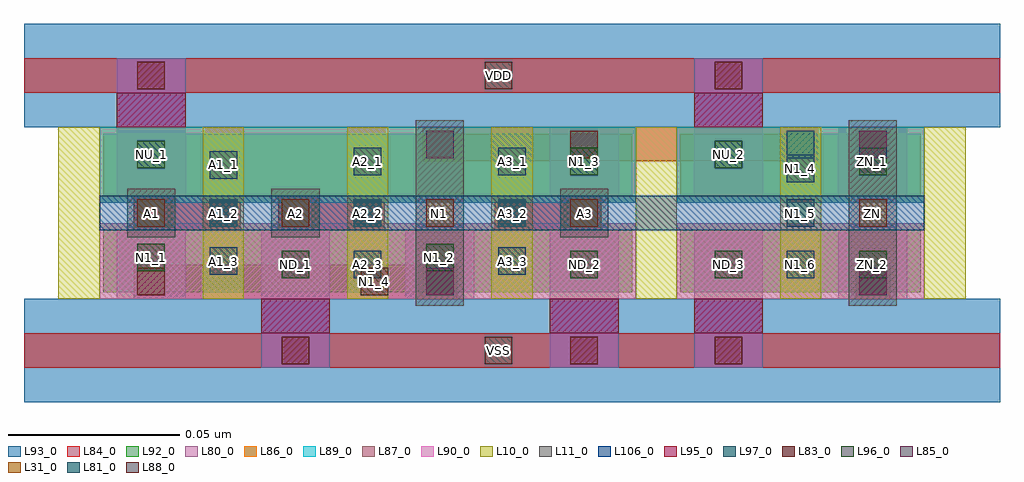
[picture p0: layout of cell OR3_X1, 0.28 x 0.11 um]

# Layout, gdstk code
import gdstk
lib = gdstk.Library(unit=1e-6, precision=1e-09)
def R(c, l, rs):  # rectangles x0, y0, x1, y1
    for r in rs: c.add(gdstk.rectangle(r[:2], r[2:], *l))
def A(c, l, x, y, w, h, nx, ny, dx, dy):  # array of equal rectangles
    R(c, l, [(x+i*dx, y+j*dy, x+i*dx+w, y+j*dy+h) for i in range(nx) for j in range(ny)])
L10_0 = (10, 0)
L11_0 = (11, 0)
L31_0 = (31, 0)
L80_0 = (80, 0)
L81_0 = (81, 0)
L83_0 = (83, 0)
L84_0 = (84, 0)
L85_0 = (85, 0)
L86_0 = (86, 0)
L87_0 = (87, 0)
L88_0 = (88, 0)
L89_0 = (89, 0)
L90_0 = (90, 0)
L92_0 = (92, 0)
L93_0 = (93, 0)
L95_0 = (95, 0)
L96_0 = (96, 0)
L97_0 = (97, 0)
L106_0 = (106, 0)

or3_x1 = lib.new_cell('OR3_X1')
A(or3_x1, L10_0, -0.027, 0.015, 0.012, 0.05, 7, 1, 0.042, 0)
R(or3_x1, L11_0, [(0.077,0.013,0.091,0.047), (0.203,0.013,0.217,0.047), (-0.007,0.033,0.007,0.047), (0.035,0.033,0.049,0.047), (0.077,0.033,0.091,0.067), (0.119,0.033,0.133,0.047), (0.203,0.033,0.217,0.067)])
A(or3_x1, L31_0, -0.004, 0.036, 0.008, 0.008, 4, 1, 0.042, 0)
R(or3_x1, L31_0, [(0.206,0.036,0.214,0.044)])
A(or3_x1, L80_0, -0.01, 0.015, 0.02, 0.02, 6, 1, 0.042, 0)
R(or3_x1, L80_0, [(0.032,-0.005,0.052,0.016), (0.116,-0.005,0.136,0.016), (0.158,-0.005,0.178,0.016), (-0.01,0.045,0.01,0.065), (-0.01,0.045,0.01,0.065), (0.116,0.045,0.136,0.065), (0.116,0.045,0.136,0.065), (0.158,0.045,0.178,0.065), (0.158,0.045,0.178,0.065), (0.2,0.045,0.22,0.065), (0.2,0.045,0.22,0.065), (-0.01,0.056,0.01,0.085), (0.158,0.056,0.178,0.085)])
A(or3_x1, L81_0, 0.017, 0.036, 0.008, 0.008, 3, 1, 0.042, 0)
R(or3_x1, L81_0, [(0.185,0.056,0.193,0.064)])
R(or3_x1, L83_0, [(0.038,-0.004,0.046,0.004), (0.122,-0.004,0.13,0.004), (0.164,-0.004,0.172,0.004), (-0.004,0.016,0.004,0.024), (0.08,0.016,0.088,0.024), (0.206,0.016,0.214,0.024), (0.122,0.056,0.13,0.064), (0.206,0.056,0.214,0.064), (-0.004,0.076,0.004,0.084), (0.164,0.076,0.172,0.084)])
A(or3_x1, L84_0, -0.005, 0.015, 0.031, 0.01, 4, 1, 0.021, 0)
A(or3_x1, L84_0, 0.079, 0.055, 0.031, 0.01, 5, 1, 0.021, 0)
R(or3_x1, L84_0, [(-0.037,-0.005,0.247,0.005), (0.205,0.015,0.215,0.025), (-0.005,0.035,0.026,0.045), (0.037,0.035,0.068,0.045), (0.1,0.035,0.131,0.045), (0.205,0.055,0.215,0.065), (-0.037,0.075,0.247,0.085)])
R(or3_x1, L85_0, [(0.08,0.016,0.088,0.024), (0.206,0.016,0.214,0.024), (-0.004,0.036,0.004,0.044), (0.038,0.036,0.046,0.044), (0.122,0.036,0.13,0.044), (0.08,0.056,0.088,0.064), (0.206,0.056,0.214,0.064)])
R(or3_x1, L86_0, [(-0.015,0.043,0.141,0.065), (0.153,0.043,0.225,0.065)])
R(or3_x1, L87_0, [(-0.015,0.015,0.141,0.037), (0.153,0.015,0.225,0.037)])
R(or3_x1, L88_0, [(0.097,-0.004,0.105,0.004), (0.061,0.016,0.069,0.024), (0.097,0.076,0.105,0.084)])
R(or3_x1, L89_0, [(-0.015,0.043,0.141,0.065), (0.153,0.043,0.225,0.065)])
R(or3_x1, L90_0, [(-0.015,0.015,0.141,0.037), (0.153,0.015,0.225,0.037)])
R(or3_x1, L92_0, [(-0.014,0.017,0.14,0.035), (0.154,0.017,0.224,0.035), (-0.014,0.045,0.14,0.063), (0.154,0.045,0.224,0.063)])
R(or3_x1, L93_0, [(-0.037,-0.015,0.247,0.015), (-0.037,0.065,0.247,0.095)])
R(or3_x1, L95_0, [(0.032,0.005,0.052,0.015), (0.116,0.005,0.136,0.015), (0.158,0.005,0.178,0.015), (-0.01,0.065,0.01,0.075), (0.158,0.065,0.178,0.075)])
A(or3_x1, L96_0, 0.122, 0.021, 0.008, 0.008, 3, 1, 0.042, 0)
R(or3_x1, L96_0, [(0.038,0.021,0.046,0.029), (-0.004,0.023,0.004,0.031), (0.08,0.023,0.088,0.031), (0.122,0.051,0.13,0.059), (0.206,0.051,0.214,0.059), (-0.004,0.053,0.004,0.061), (0.164,0.053,0.172,0.061)])
A(or3_x1, L97_0, 0.017, 0.036, 0.008, 0.008, 3, 1, 0.042, 0)
R(or3_x1, L97_0, [(0.059,0.021,0.067,0.029), (0.185,0.021,0.193,0.029), (0.017,0.022,0.025,0.03), (0.101,0.022,0.109,0.03), (0.185,0.036,0.193,0.044), (0.185,0.049,0.193,0.057), (0.017,0.05,0.025,0.058), (0.059,0.051,0.067,0.059), (0.101,0.051,0.109,0.059)])
R(or3_x1, L106_0, [(-0.015,0.035,0.225,0.045)])
or3_x1.add(gdstk.Label('A3', (0.126,0.04), layer=31, texttype=0))
or3_x1.add(gdstk.Label('A2', (0.042,0.04), layer=31, texttype=0))
or3_x1.add(gdstk.Label('A1', (0,0.04), layer=31, texttype=0))
or3_x1.add(gdstk.Label('N1', (0.084,0.04), layer=31, texttype=0))
or3_x1.add(gdstk.Label('ZN', (0.21,0.04), layer=31, texttype=0))
or3_x1.add(gdstk.Label('ND_3', (0.168,0.025), layer=96, texttype=0))
or3_x1.add(gdstk.Label('ND_2', (0.126,0.025), layer=96, texttype=0))
or3_x1.add(gdstk.Label('ND_1', (0.042,0.025), layer=96, texttype=0))
or3_x1.add(gdstk.Label('NU_2', (0.168,0.057), layer=96, texttype=0))
or3_x1.add(gdstk.Label('NU_1', (0,0.057), layer=96, texttype=0))
or3_x1.add(gdstk.Label('N1_3', (0.126,0.055), layer=96, texttype=0))
or3_x1.add(gdstk.Label('N1_2', (0.084,0.027), layer=96, texttype=0))
or3_x1.add(gdstk.Label('N1_1', (0,0.027), layer=96, texttype=0))
or3_x1.add(gdstk.Label('ZN_2', (0.21,0.025), layer=96, texttype=0))
or3_x1.add(gdstk.Label('ZN_1', (0.21,0.055), layer=96, texttype=0))
or3_x1.add(gdstk.Label('A3_3', (0.105,0.026), layer=97, texttype=0))
or3_x1.add(gdstk.Label('A3_2', (0.105,0.04), layer=97, texttype=0))
or3_x1.add(gdstk.Label('A3_1', (0.105,0.055), layer=97, texttype=0))
or3_x1.add(gdstk.Label('A2_3', (0.063,0.025), layer=97, texttype=0))
or3_x1.add(gdstk.Label('A2_1', (0.063,0.055), layer=97, texttype=0))
or3_x1.add(gdstk.Label('A2_2', (0.063,0.04), layer=97, texttype=0))
or3_x1.add(gdstk.Label('A1_3', (0.021,0.026), layer=97, texttype=0))
or3_x1.add(gdstk.Label('A1_1', (0.021,0.054), layer=97, texttype=0))
or3_x1.add(gdstk.Label('A1_2', (0.021,0.04), layer=97, texttype=0))
or3_x1.add(gdstk.Label('N1_6', (0.189,0.025), layer=97, texttype=0))
or3_x1.add(gdstk.Label('N1_5', (0.189,0.04), layer=97, texttype=0))
or3_x1.add(gdstk.Label('N1_4', (0.189,0.053), layer=97, texttype=0))
or3_x1.add(gdstk.Label('N1_4', (0.065,0.02), layer=88, texttype=0))
or3_x1.add(gdstk.Label('VSS', (0.101,0), layer=88, texttype=0))
or3_x1.add(gdstk.Label('VDD', (0.101,0.08), layer=88, texttype=0))

lib.write_gds('OR3_X1.gds')
